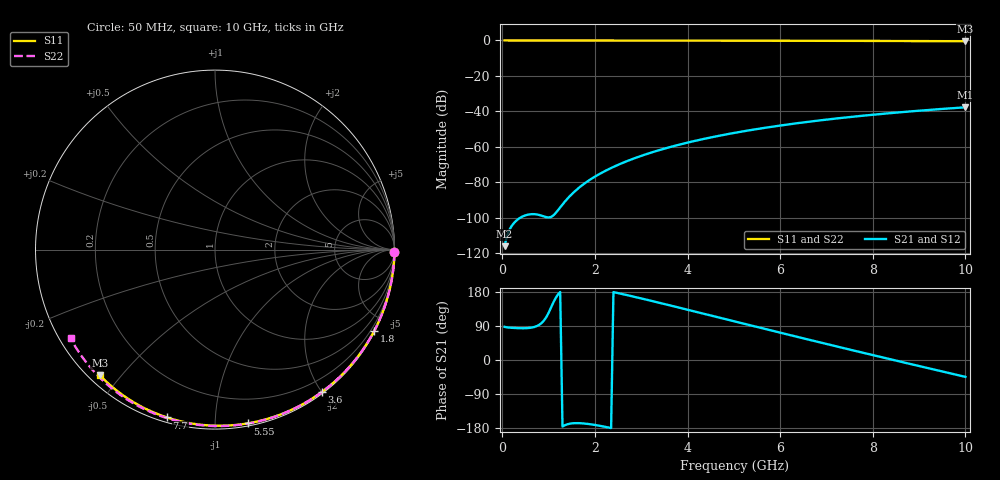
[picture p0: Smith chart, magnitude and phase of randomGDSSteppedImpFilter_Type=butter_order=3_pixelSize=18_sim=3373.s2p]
! freq	dB(S11)	phase(S11)	dB(S12)	phase(S12)
!  dB(S21)	phase(S21)	dB(S22)	phase(S22)
!S-par simulation data
#  GHz  S  DB  R 50
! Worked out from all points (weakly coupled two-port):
!   200 points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, 50 MHz to 10 GHz, reference 50 ohm
!   highest |S21| = -37.75 dB at 10 GHz (marker M1); lowest = -116.2 dB at 50 MHz (marker M2)
!   lowest |S11| = -0.4 dB at 10 GHz (marker M3), VSWR 38.86, Z = 1.54 - j22 ohm
!   |S11| at or under -10 dB: nowhere
!   |S22| runs from -0.5 to 0.0 dB; largest |S21 - S12| = 0
!   S11 on the Smith chart (normalised r, x): 50 MHz: open; 1.8 GHz: 0.04, -4.14; 3.6 GHz: 0.02, -2.00; 5.55 GHz: 0.02, -1.21; 7.7 GHz: 0.02, -0.75; 10 GHz: 0.03, -0.44
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0.05  -0.00 -0.8  -116.18 87.5  -116.18 87.5  -0.00 -0.9
0.45  -0.01 -6.9  -99.26 83.8  -99.26 83.8  -0.01 -7.8
0.9  -0.02 -13.7  -99.40 104.2  -99.40 104.2  -0.02 -15.4
1.3  -0.02 -19.7  -92.64 -175.7  -92.64 -175.7  -0.03 -22.2
1.75  -0.03 -26.4  -81.26 -167.4  -81.26 -167.4  -0.04 -29.7
1.8  -0.03 -27.2  -80.31 -168.0  -80.31 -168.0  -0.04 -30.5
1.85  -0.04 -27.9  -79.40 -168.7  -79.40 -168.7  -0.04 -31.4
2  -0.04 -30.1  -76.91 -171.4  -76.91 -171.4  -0.04 -33.8
2.15  -0.04 -32.3  -74.68 -174.7  -74.68 -174.7  -0.05 -36.3
2.5  -0.05 -37.5  -70.25 176.5  -70.25 176.5  -0.05 -42.0
2.9  -0.06 -43.2  -66.10 165.4  -66.10 165.4  -0.06 -48.5
3.4  -0.07 -50.3  -61.85 150.7  -61.85 150.7  -0.07 -56.4
3.6  -0.07 -53.1  -60.37 144.7  -60.37 144.7  -0.08 -59.5
4.3  -0.09 -62.8  -55.89 123.6  -55.89 123.6  -0.10 -70.3
5.05  -0.11 -72.8  -52.02 100.8  -52.02 100.8  -0.12 -81.4
5.55  -0.13 -79.4  -49.82 85.7  -49.82 85.7  -0.14 -88.6
6.1  -0.15 -86.4  -47.69 69.1  -47.69 69.1  -0.17 -96.4
6.7  -0.18 -93.8  -45.64 51.2  -45.64 51.2  -0.20 -104.7
7.7  -0.24 -105.9  -42.73 21.7  -42.73 21.7  -0.27 -118.1
8.35  -0.29 -113.6  -41.11 2.8  -41.11 2.8  -0.32 -126.7
9.2  -0.36 -123.4  -39.26 -21.7  -39.26 -21.7  -0.41 -137.9
10  -0.45 -132.5  -37.75 -44.5  -37.75 -44.5  -0.50 -148.4
